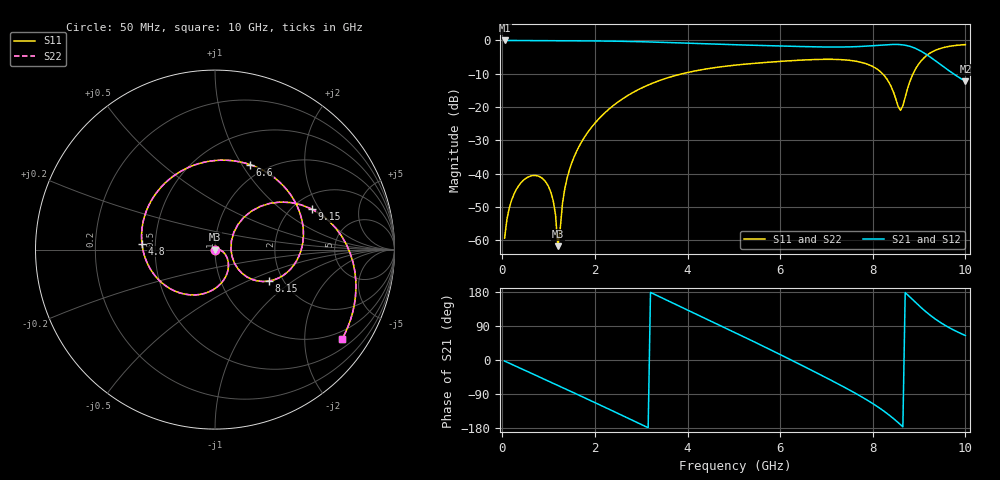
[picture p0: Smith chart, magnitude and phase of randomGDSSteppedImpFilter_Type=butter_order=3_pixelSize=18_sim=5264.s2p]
! freq	dB(S11)	phase(S11)	dB(S12)	phase(S12)
!  dB(S21)	phase(S21)	dB(S22)	phase(S22)
!S-par simulation data
#  GHz  S  DB  R 50
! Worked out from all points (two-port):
!   200 points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, 50 MHz to 10 GHz, reference 50 ohm
!   highest |S21| = 0.00 dB at 50 MHz (marker M1); lowest = -12.3 dB at 10 GHz (marker M2)
!   |S21| within 3 dB of the highest: start of sweep to 9.013 GHz
!   lowest |S11| = -61.8 dB at 1.2 GHz (marker M3), VSWR 1.00, Z = 49.9 + j0.0272 ohm
!   |S11| at or under -10 dB: start of sweep to 3.887 GHz; 8.211 GHz to 8.872 GHz (661.2 MHz wide, 7.74 % of centre)
!   |S22| runs from -61.0 to -1.2 dB; largest |S21 - S12| = 0
!   S11 on the Smith chart (normalised r, x): 50 MHz: 1.00, -0.00; 4.8 GHz: 0.42, +0.03; 6.6 GHz: 0.85, +1.09; 8.15 GHz: 1.68, -0.67; 9.15 GHz: 2.49, +1.71; 10 GHz: 0.74, -2.98
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0.05  -59.41 -58.2  -0.00 -2.8  -0.00 -2.8  -60.28 -59.4
0.3  -44.82 -101.7  -0.03 -16.8  -0.03 -16.8  -44.72 -101.5
0.75  -40.63 -132.0  -0.06 -41.9  -0.06 -41.9  -40.61 -132.1
1.05  -45.64 -152.7  -0.07 -58.7  -0.07 -58.7  -45.70 -154.0
1.15  -52.44 -165.4  -0.08 -64.3  -0.08 -64.3  -52.50 -169.4
1.2  -61.79 160.4  -0.08 -67.1  -0.08 -67.1  -60.97 151.0
1.4  -41.34 15.6  -0.09 -78.4  -0.09 -78.4  -41.30 16.8
1.75  -29.59 -7.1  -0.12 -98.1  -0.12 -98.1  -29.59 -6.9
2.65  -17.06 -59.9  -0.27 -149.8  -0.27 -149.8  -17.06 -59.8
3.4  -12.01 -103.5  -0.54 166.7  -0.54 166.7  -12.01 -103.5
4.15  -9.19 -146.9  -0.90 123.3  -0.90 123.3  -9.19 -147.0
4.8  -7.78 175.4  -1.20 85.6  -1.20 85.6  -7.78 175.3
5.05  -7.39 160.7  -1.30 70.9  -1.30 70.9  -7.39 160.7
5.85  -6.44 113.1  -1.61 23.5  -1.61 23.5  -6.44 113.1
6.6  -5.81 67.5  -1.88 -22.2  -1.88 -22.2  -5.81 67.4
6.7  -5.76 61.3  -1.90 -28.4  -1.90 -28.4  -5.76 61.3
7.5  -5.97 11.6  -1.93 -79.3  -1.93 -79.3  -5.97 11.6
8.15  -9.21 -30.5  -1.42 -127.1  -1.42 -127.1  -9.21 -30.5
8.35  -12.59 -40.5  -1.23 -145.0  -1.23 -145.0  -12.60 -40.6
8.6  -21.01 3.2  -1.25 -170.7  -1.25 -170.7  -21.06 3.3
9.15  -4.68 22.8  -4.14 127.1  -4.14 127.1  -4.68 22.9
10  -1.24 -35.3  -12.27 64.6  -12.27 64.6  -1.24 -35.3
